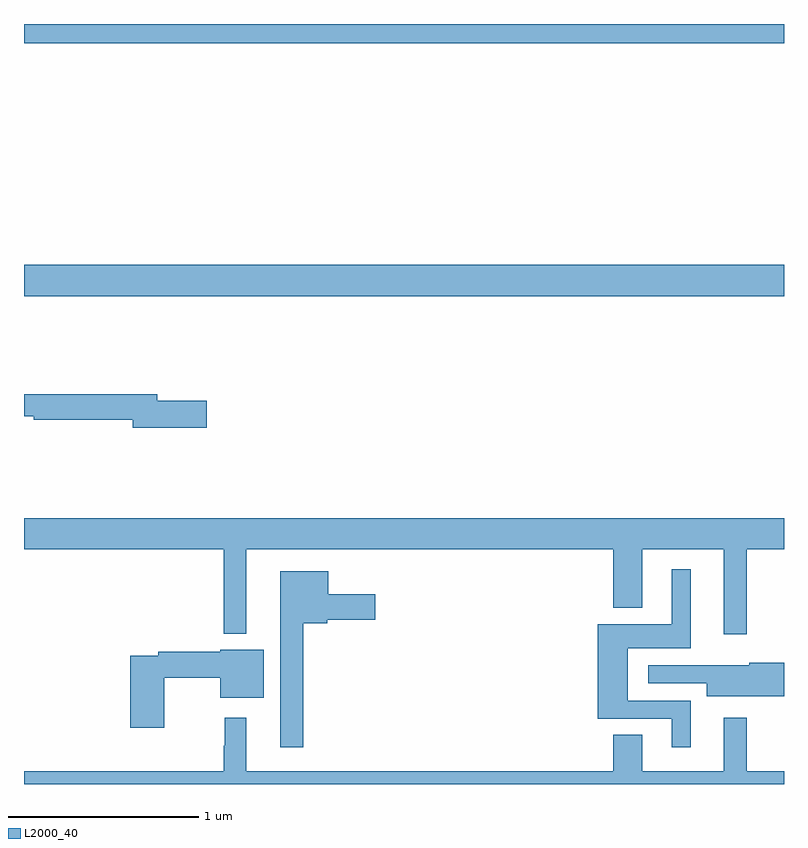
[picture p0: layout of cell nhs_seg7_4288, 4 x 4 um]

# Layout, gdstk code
import gdstk
lib = gdstk.Library(unit=1e-6, precision=1e-09)
def R(c, l, rs):  # rectangles x0, y0, x1, y1
    for r in rs: c.add(gdstk.rectangle(r[:2], r[2:], *l))
def P(c, l, *ps):  # polygons
    for p in ps: c.add(gdstk.Polygon(p, *l))
L2000_40 = (2000, 40)

nhs_seg7_4288 = lib.new_cell('nhs_seg7_4288')
R(nhs_seg7_4288, L2000_40, [(381,1048.568,385,1048.732), (381,1049.9,385,1050)])
P(nhs_seg7_4288, L2000_40, [(381.961,1048.016),(381.7,1048.016),(381.7,1048.052),(381,1048.052),(381,1047.935),(381.052,1047.935),(381.052,1047.916),(381.572,1047.916),(381.572,1047.874),(381.961,1047.874)],
  [(384.805,1047.236),(385,1047.236),(385,1047.4),(381,1047.4),(381,1047.236),(382.05,1047.236),(382.05,1046.792),(382.171,1046.792),(382.171,1047.236),(384.101,1047.236),(384.101,1046.927),(384.253,1046.927),(384.253,1047.236),(384.683,1047.236),(384.683,1046.787),(384.805,1046.787)],
  [(384.508,1046.439),(384.178,1046.439),(384.178,1046.714),(384.508,1046.714),(384.508,1047.13),(384.41,1047.13),(384.41,1046.842),(384.02,1046.842),(384.02,1046.343),(384.41,1046.343),(384.41,1046.193),(384.508,1046.193)],
  [(382.471,1046.846),(382.596,1046.846),(382.596,1046.864),(382.849,1046.864),(382.849,1046.998),(382.6,1046.998),(382.6,1047.121),(382.349,1047.121),(382.349,1046.193),(382.471,1046.193)],
  [(381.738,1046.56),(382.034,1046.56),(382.034,1046.453),(382.261,1046.453),(382.261,1046.707),(382.034,1046.707),(382.034,1046.696),(381.706,1046.696),(381.706,1046.676),(381.56,1046.676),(381.56,1046.295),(381.738,1046.295)],
  [(385,1046.639),(384.816,1046.639),(384.816,1046.626),(384.597,1046.626),(384.597,1046.625),(384.285,1046.625),(384.285,1046.529),(384.593,1046.529),(384.593,1046.461),(385,1046.461)],
  [(385,1046.068),(384.805,1046.068),(384.805,1046.35),(384.683,1046.35),(384.683,1046.068),(384.253,1046.068),(384.253,1046.258),(384.101,1046.258),(384.101,1046.068),(382.171,1046.068),(382.171,1046.35),(382.057,1046.35),(382.057,1046.201),(382.05,1046.201),(382.05,1046.068),(381,1046.068),(381,1046),(385,1046)])

lib.write_gds('nhs_seg7_4288.gds')
